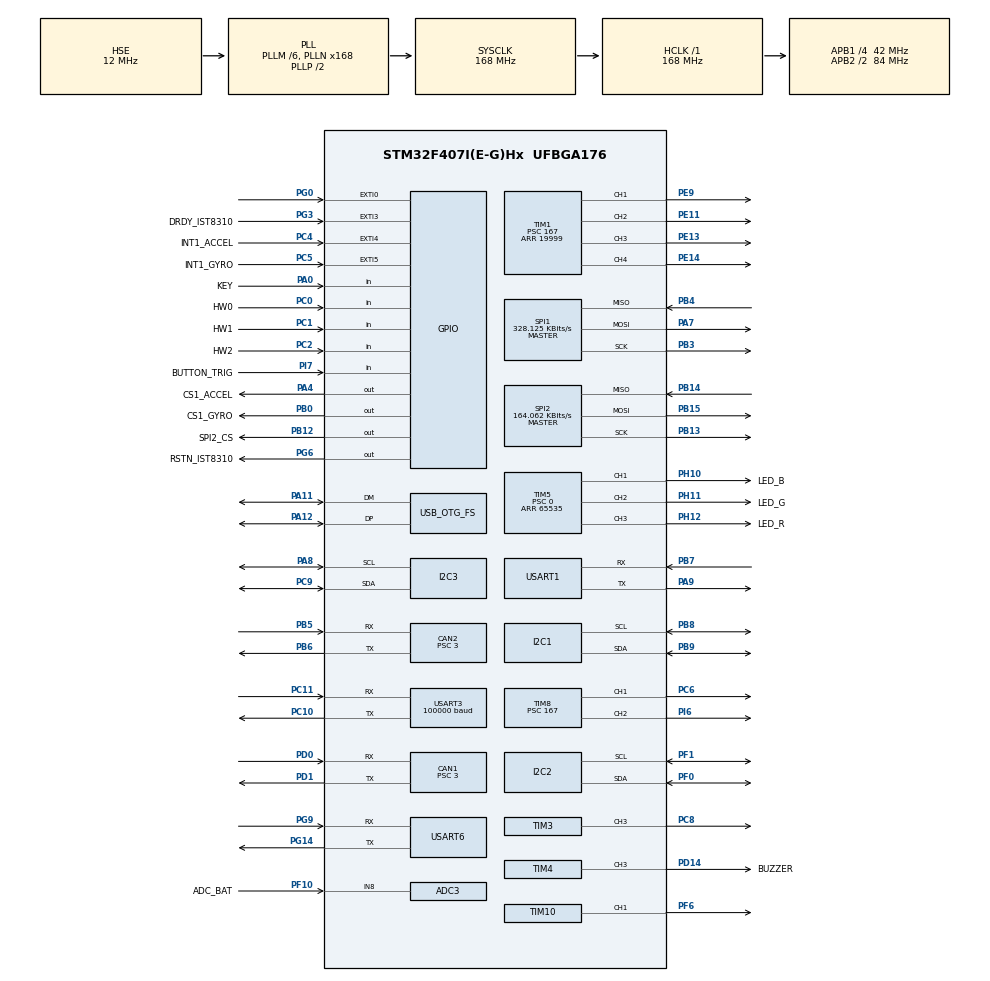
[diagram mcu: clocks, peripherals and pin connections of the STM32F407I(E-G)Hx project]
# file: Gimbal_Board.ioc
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ADC1.Channel-0\#ChannelRegularConversion=ADC_CHANNEL_TEMPSENSOR
ADC1.ClockPrescaler=ADC_CLOCK_SYNC_PCLK_DIV6
ADC1.NbrOfConversionFlag=1
ADC1.Rank-0\#ChannelRegularConversion=1
ADC1.SamplingTime-0\#ChannelRegularConversion=ADC_SAMPLETIME_3CYCLES
ADC1.master=1
ADC3.Channel-0\#ChannelRegularConversion=ADC_CHANNEL_8
ADC3.ClockPrescaler=ADC_CLOCK_SYNC_PCLK_DIV6
ADC3.NbrOfConversionFlag=1
ADC3.Rank-0\#ChannelRegularConversion=1
ADC3.SamplingTime-0\#ChannelRegularConversion=ADC_SAMPLETIME_3CYCLES
CAN1.BS1=CAN_BS1_10TQ
CAN1.BS2=CAN_BS2_3TQ
CAN1.CalculateTimeQuantum=71.42857142857143
CAN1.Prescaler=3
CAN2.BS1=CAN_BS1_10TQ
CAN2.BS2=CAN_BS2_3TQ
CAN2.CalculateTimeQuantum=71.42857142857143
CAN2.Prescaler=3
Dma.I2C2_TX.2.Direction=DMA_MEMORY_TO_PERIPH
Dma.I2C2_TX.2.FIFOMode=DMA_FIFOMODE_DISABLE
Dma.I2C2_TX.2.Instance=DMA1_Stream7
Dma.I2C2_TX.2.MemDataAlignment=DMA_MDATAALIGN_BYTE
Dma.I2C2_TX.2.MemInc=DMA_MINC_ENABLE
Dma.I2C2_TX.2.Mode=DMA_NORMAL
Dma.I2C2_TX.2.PeriphDataAlignment=DMA_PDATAALIGN_BYTE
Dma.I2C2_TX.2.PeriphInc=DMA_PINC_DISABLE
Dma.I2C2_TX.2.Priority=DMA_PRIORITY_HIGH
Dma.Request0=SPI1_RX
Dma.Request1=SPI1_TX
Dma.Request2=I2C2_TX
Dma.Request3=USART3_RX
Dma.Request4=USART6_RX
Dma.Request5=USART6_TX
Dma.Request6=USART1_TX
Dma.SPI1_RX.0.Direction=DMA_PERIPH_TO_MEMORY
Dma.SPI1_RX.0.FIFOMode=DMA_FIFOMODE_DISABLE
Dma.SPI1_RX.0.Instance=DMA2_Stream2
Dma.SPI1_RX.0.MemDataAlignment=DMA_MDATAALIGN_BYTE
Dma.SPI1_RX.0.MemInc=DMA_MINC_ENABLE
Dma.SPI1_RX.0.Mode=DMA_NORMAL
Dma.SPI1_RX.0.PeriphDataAlignment=DMA_PDATAALIGN_BYTE
Dma.SPI1_RX.0.PeriphInc=DMA_PINC_DISABLE
Dma.SPI1_RX.0.Priority=DMA_PRIORITY_VERY_HIGH
Dma.SPI1_TX.1.Direction=DMA_MEMORY_TO_PERIPH
Dma.SPI1_TX.1.FIFOMode=DMA_FIFOMODE_DISABLE
Dma.SPI1_TX.1.Instance=DMA2_Stream3
Dma.SPI1_TX.1.MemDataAlignment=DMA_MDATAALIGN_BYTE
Dma.SPI1_TX.1.MemInc=DMA_MINC_ENABLE
Dma.SPI1_TX.1.Mode=DMA_NORMAL
Dma.SPI1_TX.1.PeriphDataAlignment=DMA_PDATAALIGN_BYTE
Dma.SPI1_TX.1.PeriphInc=DMA_PINC_DISABLE
Dma.SPI1_TX.1.Priority=DMA_PRIORITY_HIGH
Dma.USART1_TX.6.Direction=DMA_MEMORY_TO_PERIPH
Dma.USART1_TX.6.FIFOMode=DMA_FIFOMODE_DISABLE
Dma.USART1_TX.6.Instance=DMA2_Stream7
Dma.USART1_TX.6.MemDataAlignment=DMA_MDATAALIGN_BYTE
Dma.USART1_TX.6.MemInc=DMA_MINC_ENABLE
Dma.USART1_TX.6.Mode=DMA_NORMAL
Dma.USART1_TX.6.PeriphDataAlignment=DMA_PDATAALIGN_BYTE
Dma.USART1_TX.6.PeriphInc=DMA_PINC_DISABLE
Dma.USART1_TX.6.Priority=DMA_PRIORITY_MEDIUM
Dma.USART3_RX.3.Direction=DMA_PERIPH_TO_MEMORY
Dma.USART3_RX.3.FIFOMode=DMA_FIFOMODE_DISABLE
Dma.USART3_RX.3.Instance=DMA1_Stream1
Dma.USART3_RX.3.MemDataAlignment=DMA_MDATAALIGN_BYTE
Dma.USART3_RX.3.MemInc=DMA_MINC_ENABLE
Dma.USART3_RX.3.Mode=DMA_NORMAL
Dma.USART3_RX.3.PeriphDataAlignment=DMA_PDATAALIGN_BYTE
Dma.USART3_RX.3.PeriphInc=DMA_PINC_DISABLE
Dma.USART3_RX.3.Priority=DMA_PRIORITY_HIGH
Dma.USART6_RX.4.Direction=DMA_PERIPH_TO_MEMORY
Dma.USART6_RX.4.FIFOMode=DMA_FIFOMODE_DISABLE
Dma.USART6_RX.4.Instance=DMA2_Stream1
Dma.USART6_RX.4.MemDataAlignment=DMA_MDATAALIGN_BYTE
Dma.USART6_RX.4.MemInc=DMA_MINC_ENABLE
Dma.USART6_RX.4.Mode=DMA_NORMAL
Dma.USART6_RX.4.PeriphDataAlignment=DMA_PDATAALIGN_BYTE
Dma.USART6_RX.4.PeriphInc=DMA_PINC_DISABLE
Dma.USART6_RX.4.Priority=DMA_PRIORITY_HIGH
Dma.USART6_TX.5.Direction=DMA_MEMORY_TO_PERIPH
Dma.USART6_TX.5.FIFOMode=DMA_FIFOMODE_DISABLE
Dma.USART6_TX.5.Instance=DMA2_Stream6
Dma.USART6_TX.5.MemDataAlignment=DMA_MDATAALIGN_BYTE
Dma.USART6_TX.5.MemInc=DMA_MINC_ENABLE
Dma.USART6_TX.5.Mode=DMA_NORMAL
Dma.USART6_TX.5.PeriphDataAlignment=DMA_PDATAALIGN_BYTE
Dma.USART6_TX.5.PeriphInc=DMA_PINC_DISABLE
Dma.USART6_TX.5.Priority=DMA_PRIORITY_MEDIUM
FREERTOS.INCLUDE_eTaskGetState=1
FREERTOS.INCLUDE_pcTaskGetTaskName=1
FREERTOS.INCLUDE_uxTaskGetStackHighWaterMark=1
FREERTOS.INCLUDE_vTaskCleanUpResources=1
FREERTOS.INCLUDE_vTaskDelayUntil=1
FREERTOS.INCLUDE_xEventGroupSetBitFromISR=1
FREERTOS.INCLUDE_xQueueGetMutexHolder=1
FREERTOS.INCLUDE_xSemaphoreGetMutexHolder=1
FREERTOS.INCLUDE_xTaskAbortDelay=1
FREERTOS.INCLUDE_xTaskGetCurrentTaskHandle=1
FREERTOS.INCLUDE_xTaskGetHandle=1
FREERTOS.INCLUDE_xTimerPendFunctionCall=1
FREERTOS.Tasks01=test,24,128,test_task,As weak,NULL,Dynamic,NULL,NULL
FREERTOS.configTOTAL_HEAP_SIZE=24576
I2C1.I2C_Mode=I2C_Fast
I2C2.I2C_Mode=I2C_Fast
I2C3.I2C_Mode=I2C_Fast
Mcu.Family=STM32F4
Mcu.Name=STM32F407I(E-G)Hx
Mcu.Package=UFBGA176
NVIC.CAN1_RX0_IRQn=true\:6\:0\:true\:false\:true\:true\:true\:true
NVIC.CAN2_RX0_IRQn=true\:6\:0\:true\:false\:true\:true\:true\:true
NVIC.DMA1_Stream1_IRQn=true\:5\:0\:true\:false\:false\:true\:false\:false
NVIC.DMA1_Stream7_IRQn=true\:5\:0\:true\:false\:false\:true\:false\:true
NVIC.DMA2_Stream1_IRQn=true\:5\:0\:true\:false\:true\:true\:false\:true
NVIC.DMA2_Stream2_IRQn=true\:5\:0\:true\:false\:false\:true\:false\:true
NVIC.DMA2_Stream3_IRQn=true\:5\:0\:true\:false\:false\:true\:false\:true
NVIC.DMA2_Stream6_IRQn=true\:5\:0\:true\:false\:true\:true\:false\:true
NVIC.DMA2_Stream7_IRQn=true\:5\:0\:true\:false\:true\:true\:false\:true
NVIC.EXTI0_IRQn=true\:6\:0\:true\:false\:true\:true\:true\:true
NVIC.EXTI3_IRQn=true\:5\:0\:true\:false\:true\:true\:true\:true
NVIC.EXTI4_IRQn=true\:5\:0\:true\:false\:true\:true\:true\:true
NVIC.EXTI9_5_IRQn=true\:5\:0\:true\:false\:true\:true\:true\:true
NVIC.OTG_FS_IRQn=true\:5\:0\:false\:false\:true\:true\:false\:true
NVIC.PriorityGroup=NVIC_PRIORITYGROUP_4
NVIC.USART3_IRQn=true\:4\:0\:true\:false\:false\:false\:true\:true
NVIC.USART6_IRQn=true\:5\:0\:true\:false\:false\:true\:true\:true
PA0-WKUP.GPIO_Label=KEY
PA0-WKUP.GPIO_PuPd=GPIO_PULLUP
PA0-WKUP.Signal=GPIO_Input
PA11.Mode=Device_Only
PA11.Signal=USB_OTG_FS_DM
PA12.Mode=Device_Only
PA12.Signal=USB_OTG_FS_DP
PA13.Mode=Serial_Wire
PA13.Signal=SYS_JTMS-SWDIO
PA14.Mode=Serial_Wire
PA14.Signal=SYS_JTCK-SWCLK
PA4.GPIO_Label=CS1_ACCEL
PA4.GPIO_PuPd=GPIO_PULLUP
PA4.GPIO_Speed=GPIO_SPEED_FREQ_HIGH
PA4.PinState=GPIO_PIN_SET
PA4.Signal=GPIO_Output
PA7.GPIO_PuPd=GPIO_PULLUP
PA7.Mode=Full_Duplex_Master
PA7.Signal=SPI1_MOSI
PA8.Mode=I2C
PA8.Signal=I2C3_SCL
PA9.Mode=Asynchronous
PA9.Signal=USART1_TX
PB0.GPIO_Label=CS1_GYRO
PB0.GPIO_PuPd=GPIO_PULLUP
PB0.GPIO_Speed=GPIO_SPEED_FREQ_HIGH
PB0.PinState=GPIO_PIN_SET
PB0.Signal=GPIO_Output
PB12.GPIO_Label=SPI2_CS
PB12.GPIO_PuPd=GPIO_PULLUP
PB12.GPIO_Speed=GPIO_SPEED_FREQ_MEDIUM
PB12.PinState=GPIO_PIN_SET
PB12.Signal=GPIO_Output
PB13.GPIO_PuPd=GPIO_PULLUP
PB13.Mode=Full_Duplex_Master
PB13.Signal=SPI2_SCK
PB14.GPIO_PuPd=GPIO_PULLUP
PB14.Mode=Full_Duplex_Master
PB14.Signal=SPI2_MISO
PB15.GPIO_PuPd=GPIO_PULLUP
PB15.Mode=Full_Duplex_Master
PB15.Signal=SPI2_MOSI
PB3.GPIO_PuPd=GPIO_PULLUP
PB3.Mode=Full_Duplex_Master
PB3.Signal=SPI1_SCK
PB4.GPIO_PuPd=GPIO_PULLUP
PB4.Mode=Full_Duplex_Master
PB4.Signal=SPI1_MISO
PB5.Mode=Slave
PB5.Signal=CAN2_RX
PB6.Mode=Slave
PB6.Signal=CAN2_TX
PB7.Mode=Asynchronous
PB7.Signal=USART1_RX
PB8.Mode=I2C
PB8.Signal=I2C1_SCL
PB9.Mode=I2C
PB9.Signal=I2C1_SDA
PC0.GPIO_Label=HW0
PC0.Signal=GPIO_Input
PC1.GPIO_Label=HW1
PC1.Signal=GPIO_Input
PC10.Mode=Asynchronous
PC10.Signal=USART3_TX
PC11.Mode=Asynchronous
PC11.Signal=USART3_RX
PC2.GPIO_Label=HW2
PC2.Signal=GPIO_Input
PC4.GPIO_Label=INT1_ACCEL
PC4.GPIO_ModeDefaultEXTI=GPIO_MODE_IT_FALLING
PC4.GPIO_PuPd=GPIO_PULLUP
PC4.Signal=GPXTI4
PC5.GPIO_Label=INT1_GYRO
PC5.GPIO_ModeDefaultEXTI=GPIO_MODE_IT_FALLING
PC5.GPIO_PuPd=GPIO_PULLUP
PC5.Signal=GPXTI5
PC6.GPIO_PuPd=GPIO_PULLUP
PC6.GPIO_Speed=GPIO_SPEED_FREQ_HIGH
PC6.Signal=S_TIM8_CH1
PC8.GPIO_PuPd=GPIO_PULLUP
PC8.GPIO_Speed=GPIO_SPEED_FREQ_HIGH
PC8.Signal=S_TIM3_CH3
PC9.Mode=I2C
PC9.Signal=I2C3_SDA
PD0.Mode=Master
PD0.Signal=CAN1_RX
PD1.Mode=Master
PD1.Signal=CAN1_TX
PD14.GPIO_Label=BUZZER
PD14.GPIO_PuPd=GPIO_PULLUP
PD14.GPIO_Speed=GPIO_SPEED_FREQ_VERY_HIGH
PD14.Signal=S_TIM4_CH3
PE11.GPIO_PuPd=GPIO_PULLUP
PE11.GPIO_Speed=GPIO_SPEED_FREQ_HIGH
PE11.Signal=S_TIM1_CH2
PE13.GPIO_PuPd=GPIO_PULLUP
PE13.GPIO_Speed=GPIO_SPEED_FREQ_HIGH
PE13.Signal=S_TIM1_CH3
PE14.GPIO_PuPd=GPIO_PULLUP
PE14.GPIO_Speed=GPIO_SPEED_FREQ_HIGH
PE14.Signal=S_TIM1_CH4
PE9.GPIO_PuPd=GPIO_PULLUP
PE9.GPIO_Speed=GPIO_SPEED_FREQ_HIGH
PE9.Signal=S_TIM1_CH1
PF0.Mode=I2C
PF0.Signal=I2C2_SDA
PF1.Mode=I2C
PF1.Signal=I2C2_SCL
PF10.GPIO_Label=ADC_BAT
PF10.Mode=IN8
PF10.Signal=ADC3_IN8
PF6.GPIO_PuPd=GPIO_PULLUP
PF6.GPIO_Speed=GPIO_SPEED_FREQ_HIGH
PF6.Signal=S_TIM10_CH1
PG0.GPIO_ModeDefaultEXTI=GPIO_MODE_IT_FALLING
PG0.GPIO_PuPd=GPIO_PULLUP
PG0.Signal=GPXTI0
PG14.Mode=Asynchronous
PG14.Signal=USART6_TX
PG3.GPIO_Label=DRDY_IST8310
PG3.GPIO_ModeDefaultEXTI=GPIO_MODE_IT_FALLING
PG3.GPIO_PuPd=GPIO_PULLUP
PG3.Signal=GPXTI3
PG6.GPIO_Label=RSTN_IST8310
PG6.GPIO_PuPd=GPIO_PULLUP
PG6.GPIO_Speed=GPIO_SPEED_FREQ_MEDIUM
PG6.PinState=GPIO_PIN_SET
PG6.Signal=GPIO_Output
PG9.Mode=Asynchronous
PG9.Signal=USART6_RX
PH0-OSC_IN.Mode=HSE-External-Oscillator
PH0-OSC_IN.Signal=RCC_OSC_IN
PH1-OSC_OUT.Mode=HSE-External-Oscillator
PH1-OSC_OUT.Signal=RCC_OSC_OUT
PH10.GPIO_Label=LED_B
PH10.GPIO_PuPd=GPIO_PULLUP
PH10.GPIO_Speed=GPIO_SPEED_FREQ_HIGH
PH10.Signal=S_TIM5_CH1
PH11.GPIO_Label=LED_G
PH11.GPIO_PuPd=GPIO_PULLUP
PH11.GPIO_Speed=GPIO_SPEED_FREQ_HIGH
PH11.Signal=S_TIM5_CH2
PH12.GPIO_Label=LED_R
PH12.GPIO_PuPd=GPIO_PULLUP
PH12.GPIO_Speed=GPIO_SPEED_FREQ_HIGH
PH12.Signal=S_TIM5_CH3
PI6.GPIO_PuPd=GPIO_PULLUP
PI6.GPIO_Speed=GPIO_SPEED_FREQ_HIGH
PI6.Signal=S_TIM8_CH2
PI7.GPIO_Label=BUTTON_TRIG
PI7.GPIO_PuPd=GPIO_PULLUP
PI7.Signal=GPIO_Input
ProjectManager.HeapSize=0x2000
ProjectManager.StackSize=0x2000
ProjectManager.TargetToolchain=SW4STM32
RCC.48MHZClocksFreq_Value=48000000
RCC.AHBFreq_Value=168000000
RCC.APB1CLKDivider=RCC_HCLK_DIV4
RCC.APB1Freq_Value=42000000
RCC.APB1TimFreq_Value=84000000
RCC.APB2CLKDivider=RCC_HCLK_DIV2
RCC.APB2Freq_Value=84000000
RCC.APB2TimFreq_Value=168000000
RCC.CortexFreq_Value=168000000
RCC.HCLKFreq_Value=168000000
RCC.HSE_VALUE=12000000
RCC.HSI_VALUE=16000000
RCC.LSE_VALUE=32768
RCC.PLLM=6
RCC.PLLN=168
RCC.PLLQ=7
RCC.RCC_RTC_Clock_SourceVirtual=RCC_RTCCLKSOURCE_HSE_DIV30
RCC.RCC_RTC_Clock_Source_FROM_HSE=RCC_RTCCLKSOURCE_HSE_DIV30
RCC.SYSCLKFreq_VALUE=168000000
RCC.SYSCLKSource=RCC_SYSCLKSOURCE_PLLCLK
RCC.VCOOutputFreq_Value=336000000
RTC.AsynchPrediv=124
RTC.SynchPrediv=3199
SH.S_TIM10_CH1.0=TIM10_CH1,PWM Generation1 CH1
SH.S_TIM1_CH1.0=TIM1_CH1,PWM Generation1 CH1
SH.S_TIM1_CH2.0=TIM1_CH2,PWM Generation2 CH2
SH.S_TIM1_CH3.0=TIM1_CH3,PWM Generation3 CH3
SH.S_TIM1_CH4.0=TIM1_CH4,PWM Generation4 CH4
SH.S_TIM3_CH3.0=TIM3_CH3,PWM Generation3 CH3
SH.S_TIM4_CH3.0=TIM4_CH3,PWM Generation3 CH3
SH.S_TIM5_CH1.0=TIM5_CH1,PWM Generation1 CH1
SH.S_TIM5_CH2.0=TIM5_CH2,PWM Generation2 CH2
SH.S_TIM5_CH3.0=TIM5_CH3,PWM Generation3 CH3
SH.S_TIM8_CH1.0=TIM8_CH1,PWM Generation1 CH1
SH.S_TIM8_CH2.0=TIM8_CH2,PWM Generation2 CH2
SPI1.BaudRatePrescaler=SPI_BAUDRATEPRESCALER_256
SPI1.CLKPhase=SPI_PHASE_2EDGE
SPI1.CLKPolarity=SPI_POLARITY_HIGH
SPI1.CalculateBaudRate=328.125 KBits/s
SPI1.Direction=SPI_DIRECTION_2LINES
SPI1.Mode=SPI_MODE_MASTER
SPI1.VirtualType=VM_MASTER
SPI2.BaudRatePrescaler=SPI_BAUDRATEPRESCALER_256
SPI2.CLKPhase=SPI_PHASE_2EDGE
SPI2.CLKPolarity=SPI_POLARITY_HIGH
SPI2.CalculateBaudRate=164.062 KBits/s
SPI2.Direction=SPI_DIRECTION_2LINES
SPI2.Mode=SPI_MODE_MASTER
SPI2.VirtualType=VM_MASTER
TIM1.Channel-PWM\ Generation1\ CH1=TIM_CHANNEL_1
TIM1.Channel-PWM\ Generation2\ CH2=TIM_CHANNEL_2
TIM1.Channel-PWM\ Generation3\ CH3=TIM_CHANNEL_3
TIM1.Channel-PWM\ Generation4\ CH4=TIM_CHANNEL_4
TIM1.Period=19999
TIM1.Prescaler=167
TIM1.Pulse-PWM\ Generation1\ CH1=1000
TIM1.Pulse-PWM\ Generation2\ CH2=1000
TIM1.Pulse-PWM\ Generation3\ CH3=1000
TIM1.Pulse-PWM\ Generation4\ CH4=1000
TIM10.Channel=TIM_CHANNEL_1
TIM10.Period=4999
TIM3.Channel-PWM\ Generation3\ CH3=TIM_CHANNEL_3
TIM3.Period=8399
TIM4.Channel-PWM\ Generation3\ CH3=TIM_CHANNEL_3
TIM4.Period=65535
TIM4.Prescaler=167
TIM5.Channel-PWM\ Generation1\ CH1=TIM_CHANNEL_1
TIM5.Channel-PWM\ Generation2\ CH2=TIM_CHANNEL_2
TIM5.Channel-PWM\ Generation3\ CH3=TIM_CHANNEL_3
TIM5.Period=65535
TIM5.Prescaler=0
TIM8.Channel-PWM\ Generation1\ CH1=TIM_CHANNEL_1
TIM8.Channel-PWM\ Generation2\ CH2=TIM_CHANNEL_2
TIM8.Period=19999
TIM8.Prescaler=167
TIM8.Pulse-PWM\ Generation1\ CH1=1000
TIM8.Pulse-PWM\ Generation2\ CH2=1000
USART1.VirtualMode=VM_ASYNC
USART3.BaudRate=100000
USART3.Parity=PARITY_EVEN
USART3.VirtualMode=VM_ASYNC
USART6.VirtualMode=VM_ASYNC
USB_DEVICE.CLASS_NAME_FS=CDC
USB_DEVICE.VirtualMode-CDC_FS=Cdc
USB_DEVICE.VirtualModeFS=Cdc_FS
USB_OTG_FS.VirtualMode=Device_Only
VP_ADC1_TempSens_Input.Mode=IN-TempSens
VP_ADC1_Vref_Input.Mode=IN-Vrefint
VP_CRC_VS_CRC.Mode=CRC_Activate
VP_FREERTOS_VS_CMSIS_V1.Mode=CMSIS_V1
VP_RNG_VS_RNG.Mode=RNG_Activate
VP_RTC_VS_RTC_Activate.Mode=RTC_Enabled
VP_TIM10_VS_ClockSourceINT.Mode=Enable_Timer
VP_TIM1_VS_ClockSourceINT.Mode=Internal
VP_TIM3_VS_ClockSourceINT.Mode=Internal
VP_TIM4_VS_ClockSourceINT.Mode=Internal
VP_TIM5_VS_ClockSourceINT.Mode=Internal
VP_TIM8_VS_ClockSourceINT.Mode=Internal
VP_USB_DEVICE_VS_USB_DEVICE_CDC_FS.Mode=CDC_FS
board=custom

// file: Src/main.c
/* USER CODE BEGIN Header */
/**
  ******************************************************************************
  * @file           : main.c
  * @brief          : Main program body
  ******************************************************************************
  * @attention
  *
  * <h2><center>&copy; Copyright (c) 2021 STMicroelectronics.
  * All rights reserved.</center></h2>
  *
  * This software component is licensed by ST under Ultimate Liberty license
  * SLA0044, the "License"; You may not use this file except in compliance with
  * the License. You may obtain a copy of the License at:
  *                             www.st.com/SLA0044
  *
  ******************************************************************************
  */
/* USER CODE END Header */

#include "main.h"
#include "cmsis_os.h"
#include "adc.h"
#include "can.h"
#include "crc.h"
#include "dma.h"
#include "i2c.h"
#include "rng.h"
#include "rtc.h"
#include "spi.h"
#include "tim.h"
#include "usart.h"
#include "usb_device.h"
#include "gpio.h"

void SystemClock_Config(void);
void MX_FREERTOS_Init(void);

int main(void)
{

  /* MCU Configuration--------------------------------------------------------*/

  /* Reset of all peripherals, Initializes the Flash interface and the Systick. */
  HAL_Init();

  /* Configure the system clock */
  SystemClock_Config();

  /* Initialize all configured peripherals */
  MX_GPIO_Init();
  MX_DMA_Init();
  MX_ADC1_Init();
  MX_ADC3_Init();
  MX_CAN1_Init();
  MX_CAN2_Init();
  MX_I2C1_Init();
  MX_SPI1_Init();
  MX_TIM4_Init();
  MX_TIM5_Init();
  MX_USART3_UART_Init();
  MX_TIM8_Init();
  MX_CRC_Init();
  MX_RNG_Init();
  MX_I2C2_Init();
  MX_I2C3_Init();
  MX_RTC_Init();
  MX_SPI2_Init();
  MX_TIM1_Init();
  MX_TIM3_Init();
  MX_TIM10_Init();
  MX_USART1_UART_Init();
  MX_USART6_UART_Init();

  /* Call init function for freertos objects (in freertos.c) */
  MX_FREERTOS_Init();

  /* Start scheduler */
  osKernelStart();

  /* We should never get here as control is now taken by the scheduler */

  /* Infinite loop */
  while (1)
  {

  }
}

void SystemClock_Config(void)
{
  RCC_OscInitTypeDef RCC_OscInitStruct = {0};
  RCC_ClkInitTypeDef RCC_ClkInitStruct = {0};
  RCC_PeriphCLKInitTypeDef PeriphClkInitStruct = {0};

  /** Configure the main internal regulator output voltage
  */
  __HAL_RCC_PWR_CLK_ENABLE();
  __HAL_PWR_VOLTAGESCALING_CONFIG(PWR_REGULATOR_VOLTAGE_SCALE1);
  /** Initializes the CPU, AHB and APB busses clocks
  */
  RCC_OscInitStruct.OscillatorType = RCC_OSCILLATORTYPE_HSE;
  RCC_OscInitStruct.HSEState = RCC_HSE_ON;
  RCC_OscInitStruct.PLL.PLLState = RCC_PLL_ON;
  RCC_OscInitStruct.PLL.PLLSource = RCC_PLLSOURCE_HSE;
  RCC_OscInitStruct.PLL.PLLM = 6;
  RCC_OscInitStruct.PLL.PLLN = 168;
  RCC_OscInitStruct.PLL.PLLP = RCC_PLLP_DIV2;
  RCC_OscInitStruct.PLL.PLLQ = 7;
  if (HAL_RCC_OscConfig(&RCC_OscInitStruct) != HAL_OK)
  {
    Error_Handler();
  }
  /** Initializes the CPU, AHB and APB busses clocks
  */
  RCC_ClkInitStruct.ClockType = RCC_CLOCKTYPE_HCLK|RCC_CLOCKTYPE_SYSCLK
                              |RCC_CLOCKTYPE_PCLK1|RCC_CLOCKTYPE_PCLK2;
  RCC_ClkInitStruct.SYSCLKSource = RCC_SYSCLKSOURCE_PLLCLK;
  RCC_ClkInitStruct.AHBCLKDivider = RCC_SYSCLK_DIV1;
  RCC_ClkInitStruct.APB1CLKDivider = RCC_HCLK_DIV4;
  RCC_ClkInitStruct.APB2CLKDivider = RCC_HCLK_DIV2;

  if (HAL_RCC_ClockConfig(&RCC_ClkInitStruct, FLASH_LATENCY_5) != HAL_OK)
  {
    Error_Handler();
  }
  PeriphClkInitStruct.PeriphClockSelection = RCC_PERIPHCLK_RTC;
  PeriphClkInitStruct.RTCClockSelection = RCC_RTCCLKSOURCE_HSE_DIV30;
  if (HAL_RCCEx_PeriphCLKConfig(&PeriphClkInitStruct) != HAL_OK)
  {
    Error_Handler();
  }
}

/* USER CODE BEGIN 4 */
void Task_init() {
    /* Syetem Service init --------------*/
    remote_control_init();
    /* Applications Init ----------------*/
}
/* USER CODE END 4 */

void Error_Handler(void)
{
}

/************************ (C) COPYRIGHT STMicroelectronics *****END OF FILE****/

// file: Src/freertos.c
/* USER CODE BEGIN Header */
/**
  ******************************************************************************
  * File Name          : freertos.c
  * Description        : Code for freertos applications
  ******************************************************************************
  * @attention
  *
  * <h2><center>&copy; Copyright (c) 2021 STMicroelectronics.
  * All rights reserved.</center></h2>
  *
  * This software component is licensed by ST under Ultimate Liberty license
  * SLA0044, the "License"; You may not use this file except in compliance with
  * the License. You may obtain a copy of the License at:
  *                             www.st.com/SLA0044
  *
  ******************************************************************************
  */
/* USER CODE END Header */

#include "FreeRTOS.h"
#include "main.h"
#include "cmsis_os.h"
#include "System_Config.h"
#include "INS_task.h"
#include "remote_data.h"

/* USER CODE BEGIN Variables */
osThreadId startTaskHandle;
osThreadId imuTaskHandle;

//TaskHandle_t IMU_Task_Handle;
osThreadId testHandle;
/* USER CODE END Variables */

/* USER CODE BEGIN FunctionPrototypes */
void test_task(void const *argument);
void start_task(void const * argument);

/* USER CODE END FunctionPrototypes */

extern void MX_USB_DEVICE_Init(void);
void MX_FREERTOS_Init(void); /* (MISRA C 2004 rule 8.1) */

/* GetIdleTaskMemory prototype (linked to static allocation support) */
void vApplicationGetIdleTaskMemory( StaticTask_t **ppxIdleTaskTCBBuffer, StackType_t **ppxIdleTaskStackBuffer, uint32_t *pulIdleTaskStackSize );

/* GetTimerTaskMemory prototype (linked to static allocation support) */
void vApplicationGetTimerTaskMemory( StaticTask_t **ppxTimerTaskTCBBuffer, StackType_t **ppxTimerTaskStackBuffer, uint32_t *pulTimerTaskStackSize );

/* USER CODE BEGIN GET_IDLE_TASK_MEMORY */
static StaticTask_t xIdleTaskTCBBuffer;
static StackType_t xIdleStack[configMINIMAL_STACK_SIZE];

void vApplicationGetIdleTaskMemory( StaticTask_t **ppxIdleTaskTCBBuffer, StackType_t **ppxIdleTaskStackBuffer, uint32_t *pulIdleTaskStackSize )
{
  *ppxIdleTaskTCBBuffer = &xIdleTaskTCBBuffer;
  *ppxIdleTaskStackBuffer = &xIdleStack[0];
  *pulIdleTaskStackSize = configMINIMAL_STACK_SIZE;
  /* place for user code */
}
/* USER CODE END GET_IDLE_TASK_MEMORY */

/* USER CODE BEGIN GET_TIMER_TASK_MEMORY */
static StaticTask_t xTimerTaskTCBBuffer;
static StackType_t xTimerStack[configTIMER_TASK_STACK_DEPTH];

void vApplicationGetTimerTaskMemory( StaticTask_t **ppxTimerTaskTCBBuffer, StackType_t **ppxTimerTaskStackBuffer, uint32_t *pulTimerTaskStackSize )
{
  *ppxTimerTaskTCBBuffer = &xTimerTaskTCBBuffer;
  *ppxTimerTaskStackBuffer = &xTimerStack[0];
  *pulTimerTaskStackSize = configTIMER_TASK_STACK_DEPTH;
  /* place for user code */
}
/* USER CODE END GET_TIMER_TASK_MEMORY */

void MX_FREERTOS_Init(void) {

  /* Create the thread(s) */
  /* definition and creation of test */

  /* USER CODE BEGIN RTOS_THREADS */
  osThreadDef(startTask, start_task, osPriorityNormal, 0, 128);
  startTaskHandle = osThreadCreate(osThread(startTask), NULL);

  osThreadDef(imuTask, INS_task, osPriorityRealtime, 0, 1024);
  imuTaskHandle = osThreadCreate(osThread(imuTask), NULL);

  /* add threads, ... */
  /* USER CODE END RTOS_THREADS */

}

/* USER CODE BEGIN Header_start_task */

/* USER CODE END Header_test_task */

/* USER CODE BEGIN Application */
/* USER CODE BEGIN Header_test_task */
/**
  * @brief  Function implementing the test thread.
  * @param  argument: Not used
  * @retval None
  */
/* USER CODE END Header_test_task */
__weak void test_task(void const *argument) {
    /* init code for USB_DEVICE */
    MX_USB_DEVICE_Init();

    /* USER CODE BEGIN test_task */
    /* Infinite loop */
    for (;;) {
        osDelay(1);
    }
    /* USER CODE END test_task */
}

/**
  * @brief  Function implementing the test thread.
  * @param  argument: Not used
  * @retval None
  */
__weak void start_task(void const * argument)
{
    /* init code for USB_DEVICE */
    Task_init();
    Task_start();
    /* USER CODE BEGIN test_task */
    /* Infinite loop */

    /* Delete the default task. */

    osThreadTerminate(startTaskHandle);
    /* USER CODE END test_task */
}
/* USER CODE END Application */

/************************ (C) COPYRIGHT STMicroelectronics *****END OF FILE****/
